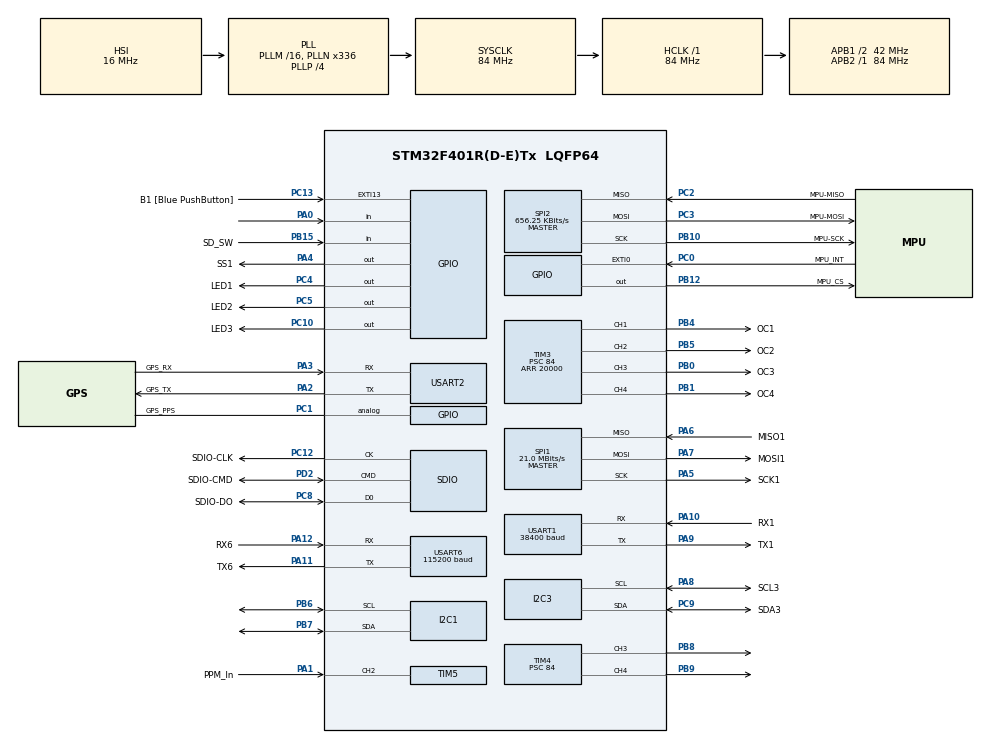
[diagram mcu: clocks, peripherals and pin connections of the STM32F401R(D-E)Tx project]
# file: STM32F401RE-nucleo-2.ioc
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Dma.Request0=SPI2_RX
Dma.Request1=SPI2_TX
Dma.SPI2_RX.0.Channel=DMA_CHANNEL_0
Dma.SPI2_RX.0.Direction=DMA_PERIPH_TO_MEMORY
Dma.SPI2_RX.0.FIFOMode=DMA_FIFOMODE_DISABLE
Dma.SPI2_RX.0.FIFOThreshold=DMA_FIFO_THRESHOLD_FULL
Dma.SPI2_RX.0.Instance=DMA1_Stream3
Dma.SPI2_RX.0.MemBurst=DMA_MBURST_SINGLE
Dma.SPI2_RX.0.MemDataAlignment=DMA_MDATAALIGN_BYTE
Dma.SPI2_RX.0.MemInc=DMA_MINC_ENABLE
Dma.SPI2_RX.0.Mode=DMA_NORMAL
Dma.SPI2_RX.0.PeriphBurst=DMA_PBURST_SINGLE
Dma.SPI2_RX.0.PeriphDataAlignment=DMA_PDATAALIGN_BYTE
Dma.SPI2_RX.0.PeriphInc=DMA_PINC_DISABLE
Dma.SPI2_RX.0.Priority=DMA_PRIORITY_LOW
Dma.SPI2_TX.1.Channel=DMA_CHANNEL_0
Dma.SPI2_TX.1.Direction=DMA_MEMORY_TO_PERIPH
Dma.SPI2_TX.1.FIFOMode=DMA_FIFOMODE_DISABLE
Dma.SPI2_TX.1.FIFOThreshold=DMA_FIFO_THRESHOLD_FULL
Dma.SPI2_TX.1.Instance=DMA1_Stream4
Dma.SPI2_TX.1.MemBurst=DMA_MBURST_SINGLE
Dma.SPI2_TX.1.MemDataAlignment=DMA_MDATAALIGN_BYTE
Dma.SPI2_TX.1.MemInc=DMA_MINC_DISABLE
Dma.SPI2_TX.1.Mode=DMA_NORMAL
Dma.SPI2_TX.1.PeriphBurst=DMA_PBURST_SINGLE
Dma.SPI2_TX.1.PeriphDataAlignment=DMA_PDATAALIGN_BYTE
Dma.SPI2_TX.1.PeriphInc=DMA_PINC_DISABLE
Dma.SPI2_TX.1.Priority=DMA_PRIORITY_LOW
FATFS.BSP.number=1
FATFS0.BSP.i2caddr=0
FATFS0.BSP.i2creg=0
FATFS0.BSP.instance=PB15
FATFS0.BSP.ip=GPIO
FATFS0.BSP.mode=Input
FATFS0.BSP.name=Detect_SDIO
FREERTOS.BinarySemaphores01=osSemaphoreIMU;osSemaphoreGPS
FREERTOS.Tasks01=defaultTask,0,1024,StartDefaultTask;TaskGPS,1,1024,StartTaskGPS;TaskIMU,2,1024,StartTaskIMU
FREERTOS.configCHECK_FOR_STACK_OVERFLOW=1
FREERTOS.configMINIMAL_STACK_SIZE=1024
FREERTOS.configTOTAL_HEAP_SIZE=32768
FREERTOS.configUSE_IDLE_HOOK=1
FREERTOS.configUSE_MALLOC_FAILED_HOOK=1
Mcu.Family=STM32F4
Mcu.Name=STM32F401R(D-E)Tx
Mcu.Package=LQFP64
NVIC.DMA1_Stream3_IRQn=true\:5\:0\:false
NVIC.DMA1_Stream4_IRQn=true\:5\:0\:false
NVIC.EXTI0_IRQn=true\:5\:0\:false
NVIC.EXTI15_10_IRQn=true\:5\:0\:false
NVIC.I2C1_ER_IRQn=true\:5\:0\:false
NVIC.I2C1_EV_IRQn=true\:5\:0\:false
NVIC.PriorityGroup=NVIC_PRIORITYGROUP_4
NVIC.SPI2_IRQn=true\:5\:0\:false
NVIC.TIM1_UP_TIM10_IRQn=true\:6\:0\:true
NVIC.TIM5_IRQn=true\:5\:0\:true
NVIC.USART1_IRQn=true\:5\:0\:false
NVIC.USART2_IRQn=true\:5\:0\:false
NVIC.USART6_IRQn=true\:5\:0\:false
PA0-WKUP.Signal=GPIO_Input
PA1.GPIO_Label=PPM_In
PA1.GPIO_ModeDefaultPP=GPIO_MODE_AF_PP
PA1.GPIO_PuPd=GPIO_NOPULL
PA1.GPIO_Speed=GPIO_SPEED_LOW
PA1.Signal=S_TIM5_CH2
PA10.GPIO_Label=RX1
PA10.GPIO_Mode=GPIO_MODE_AF_PP
PA10.GPIO_PuPd=GPIO_PULLUP
PA10.GPIO_Speed=GPIO_SPEED_LOW
PA10.Mode=Asynchronous
PA10.Signal=USART1_RX
PA11.GPIO_Label=TX6
PA11.GPIO_Mode=GPIO_MODE_AF_PP
PA11.GPIO_PuPd=GPIO_PULLUP
PA11.GPIO_Speed=GPIO_SPEED_LOW
PA11.Mode=Asynchronous
PA11.Signal=USART6_TX
PA12.GPIO_Label=RX6
PA12.GPIO_Mode=GPIO_MODE_AF_PP
PA12.GPIO_PuPd=GPIO_PULLUP
PA12.GPIO_Speed=GPIO_SPEED_LOW
PA12.Mode=Asynchronous
PA12.Signal=USART6_RX
PA13.GPIO_Label=SWIO
PA13.Mode=Trace-Asynchronous_SW
PA13.Signal=SYS_JTMS-SWDIO
PA14.GPIO_Label=SWCLK
PA14.Mode=Trace-Asynchronous_SW
PA14.Signal=SYS_JTCK-SWCLK
PA2.GPIO_Label=GPS_TX
PA2.GPIO_Mode=GPIO_MODE_AF_PP
PA2.GPIO_PuPd=GPIO_NOPULL
PA2.GPIO_Speed=GPIO_SPEED_LOW
PA2.Mode=Asynchronous
PA2.Signal=USART2_TX
PA3.GPIO_Label=GPS_RX
PA3.GPIO_Mode=GPIO_MODE_AF_PP
PA3.GPIO_PuPd=GPIO_NOPULL
PA3.GPIO_Speed=GPIO_SPEED_LOW
PA3.Mode=Asynchronous
PA3.Signal=USART2_RX
PA4.GPIO_Label=SS1
PA4.GPIO_ModeDefaultOutputPP=GPIO_MODE_OUTPUT_PP
PA4.GPIO_PuPd=GPIO_NOPULL
PA4.GPIO_Speed=GPIO_SPEED_LOW
PA4.Signal=GPIO_Output
PA5.GPIO_Label=SCK1
PA5.GPIO_Mode=GPIO_MODE_AF_PP
PA5.GPIO_PuPd=GPIO_NOPULL
PA5.GPIO_Speed=GPIO_SPEED_HIGH
PA5.Mode=Full_Duplex_Master
PA5.Signal=SPI1_SCK
PA6.GPIO_Label=MISO1
PA6.GPIO_Mode=GPIO_MODE_AF_PP
PA6.GPIO_PuPd=GPIO_NOPULL
PA6.GPIO_Speed=GPIO_SPEED_HIGH
PA6.Mode=Full_Duplex_Master
PA6.Signal=SPI1_MISO
PA7.GPIO_Label=MOSI1
PA7.GPIO_Mode=GPIO_MODE_AF_PP
PA7.GPIO_PuPd=GPIO_NOPULL
PA7.GPIO_Speed=GPIO_SPEED_HIGH
PA7.Mode=Full_Duplex_Master
PA7.Signal=SPI1_MOSI
PA8.GPIO_Label=SCL3
PA8.GPIO_Mode=GPIO_MODE_AF_OD
PA8.GPIO_PuPdOD=GPIO_PULLUP
PA8.GPIO_Speed=GPIO_SPEED_LOW
PA8.Mode=I2C
PA8.Signal=I2C3_SCL
PA9.GPIO_Label=TX1
PA9.GPIO_Mode=GPIO_MODE_AF_PP
PA9.GPIO_PuPd=GPIO_PULLUP
PA9.GPIO_Speed=GPIO_SPEED_LOW
PA9.Mode=Asynchronous
PA9.Signal=USART1_TX
PB0.GPIO_Label=OC3
PB0.GPIO_ModeDefaultPP=GPIO_MODE_AF_PP
PB0.GPIO_PuPd=GPIO_NOPULL
PB0.GPIO_Speed=GPIO_SPEED_LOW
PB0.Signal=S_TIM3_CH3
PB1.GPIO_Label=OC4
PB1.GPIO_ModeDefaultPP=GPIO_MODE_AF_PP
PB1.GPIO_PuPd=GPIO_NOPULL
PB1.GPIO_Speed=GPIO_SPEED_LOW
PB1.Signal=S_TIM3_CH4
PB10.GPIO_Label=MPU-SCK
PB10.GPIO_Mode=GPIO_MODE_AF_PP
PB10.GPIO_PuPd=GPIO_NOPULL
PB10.GPIO_Speed=GPIO_SPEED_LOW
PB10.Mode=Full_Duplex_Master
PB10.Signal=SPI2_SCK
PB12.GPIO_Label=MPU_CS
PB12.GPIO_ModeDefaultOutputPP=GPIO_MODE_OUTPUT_PP
PB12.GPIO_PuPd=GPIO_NOPULL
PB12.GPIO_Speed=GPIO_SPEED_LOW
PB12.Signal=GPIO_Output
PB15.GPIO_Label=SD_SW
PB15.GPIO_Mode=GPIO_MODE_INPUT
PB15.GPIO_PuPd=GPIO_NOPULL
PB15.Signal=GPIO_Input
PB3.GPIO_Label=SWO
PB3.Mode=Trace-Asynchronous_SW
PB3.Signal=SYS_JTDO-SWO
PB4.GPIO_Label=OC1
PB4.GPIO_ModeDefaultPP=GPIO_MODE_AF_PP
PB4.GPIO_PuPd=GPIO_NOPULL
PB4.GPIO_Speed=GPIO_SPEED_LOW
PB4.Signal=S_TIM3_CH1
PB5.GPIO_Label=OC2
PB5.GPIO_ModeDefaultPP=GPIO_MODE_AF_PP
PB5.GPIO_PuPd=GPIO_NOPULL
PB5.GPIO_Speed=GPIO_SPEED_LOW
PB5.Signal=S_TIM3_CH2
PB6.GPIO_Mode=GPIO_MODE_AF_OD
PB6.GPIO_PuPdOD=GPIO_PULLUP
PB6.GPIO_Speed=GPIO_SPEED_LOW
PB6.Mode=I2C
PB6.Signal=I2C1_SCL
PB7.GPIO_Mode=GPIO_MODE_AF_OD
PB7.GPIO_PuPdOD=GPIO_PULLUP
PB7.GPIO_Speed=GPIO_SPEED_LOW
PB7.Mode=I2C
PB7.Signal=I2C1_SDA
PB8.Signal=S_TIM4_CH3
PB9.Signal=S_TIM4_CH4
PC0.GPIO_Label=MPU_INT
PC0.GPIO_ModeDefaultEXTI=GPIO_MODE_IT_FALLING
PC0.GPIO_PuPd=GPIO_PULLUP
PC0.Signal=GPXTI0
PC1.GPIO_Label=GPS_PPS
PC1.GPIO_Mode=GPIO_MODE_ANALOG
PC1.GPIO_PuPd=GPIO_NOPULL
PC1.Signal=GPIO_Analog
PC10.GPIO_Label=LED3
PC10.GPIO_ModeDefaultOutputPP=GPIO_MODE_OUTPUT_PP
PC10.GPIO_PuPd=GPIO_NOPULL
PC10.GPIO_Speed=GPIO_SPEED_LOW
PC10.Signal=GPIO_Output
PC12.GPIO_Label=SDIO-CLK
PC12.GPIO_Mode=GPIO_MODE_AF_PP
PC12.GPIO_PuPd=GPIO_NOPULL
PC12.GPIO_Speed_High_Default=GPIO_SPEED_HIGH
PC12.Mode=SD_1_bit
PC12.Signal=SDIO_CK
PC13-ANTI_TAMP.GPIO_Label=B1 [Blue PushButton]
PC13-ANTI_TAMP.GPIO_ModeDefaultEXTI=GPIO_MODE_IT_FALLING
PC13-ANTI_TAMP.GPIO_PuPd=GPIO_NOPULL
PC13-ANTI_TAMP.Signal=GPXTI13
PC14-OSC32_IN.Mode=LSE-External-Oscillator
PC14-OSC32_IN.Signal=RCC_OSC32_IN
PC15-OSC32_OUT.Mode=LSE-External-Oscillator
PC15-OSC32_OUT.Signal=RCC_OSC32_OUT
PC2.GPIO_Label=MPU-MISO
PC2.GPIO_Mode=GPIO_MODE_AF_PP
PC2.GPIO_PuPd=GPIO_NOPULL
PC2.GPIO_Speed=GPIO_SPEED_LOW
PC2.Mode=Full_Duplex_Master
PC2.Signal=SPI2_MISO
PC3.GPIO_Label=MPU-MOSI
PC3.GPIO_Mode=GPIO_MODE_AF_PP
PC3.GPIO_PuPd=GPIO_NOPULL
PC3.GPIO_Speed=GPIO_SPEED_LOW
PC3.Mode=Full_Duplex_Master
PC3.Signal=SPI2_MOSI
PC4.GPIO_Label=LED1
PC4.GPIO_ModeDefaultOutputPP=GPIO_MODE_OUTPUT_PP
PC4.GPIO_PuPd=GPIO_NOPULL
PC4.GPIO_Speed=GPIO_SPEED_LOW
PC4.Signal=GPIO_Output
PC5.GPIO_Label=LED2
PC5.GPIO_ModeDefaultOutputPP=GPIO_MODE_OUTPUT_PP
PC5.GPIO_PuPd=GPIO_NOPULL
PC5.GPIO_Speed=GPIO_SPEED_LOW
PC5.Signal=GPIO_Output
PC8.GPIO_Label=SDIO-DO
PC8.GPIO_Mode=GPIO_MODE_AF_PP
PC8.GPIO_PuPd=GPIO_NOPULL
PC8.GPIO_Speed_High_Default=GPIO_SPEED_HIGH
PC8.Mode=SD_1_bit
PC8.Signal=SDIO_D0
PC9.GPIO_Label=SDA3
PC9.GPIO_Mode=GPIO_MODE_AF_OD
PC9.GPIO_PuPdOD=GPIO_PULLUP
PC9.GPIO_Speed=GPIO_SPEED_LOW
PC9.Mode=I2C
PC9.Signal=I2C3_SDA
PD2.GPIO_Label=SDIO-CMD
PD2.GPIO_Mode=GPIO_MODE_AF_PP
PD2.GPIO_PuPd=GPIO_NOPULL
PD2.GPIO_Speed_High_Default=GPIO_SPEED_HIGH
PD2.Mode=SD_1_bit
PD2.Signal=SDIO_CMD
PH0\ -\ OSC_IN.Signal=RCC_OSC_IN
PH1\ -\ OSC_OUT.Signal=RCC_OSC_OUT
ProjectManager.TargetToolchain=TrueSTUDIO
RCC.48MHZClocksFreq_Value=48000000
RCC.AHBFreq_Value=84000000
RCC.APB1CLKDivider=RCC_HCLK_DIV2
RCC.APB1Freq_Value=42000000
RCC.APB1TimFreq_Value=84000000
RCC.APB2Freq_Value=84000000
RCC.APB2TimFreq_Value=84000000
RCC.CortexFreq_Value=10500000
RCC.Cortex_Div=SYSTICK_CLKSOURCE_HCLK_DIV8
RCC.HCLKFreq_Value=84000000
RCC.HSE_VALUE=8000000
RCC.HSI_VALUE=16000000
RCC.PLLN=336
RCC.PLLP=RCC_PLLP_DIV4
RCC.PLLQ=7
RCC.SYSCLKFreq_VALUE=84000000
RCC.SYSCLKSource=RCC_SYSCLKSOURCE_PLLCLK
RCC.VCOOutputFreq_Value=336000000
SDIO.BusWide=SDIO_BUS_WIDE_1B
SDIO.BusWide-SD_1_bit=SDIO_BUS_WIDE_1B
SDIO.ClockDiv=4
SH.S_TIM3_CH1.0=TIM3_CH1,PWM Generation1 CH1
SH.S_TIM3_CH2.0=TIM3_CH2,PWM Generation2 CH2
SH.S_TIM3_CH3.0=TIM3_CH3,PWM Generation3 CH3
SH.S_TIM3_CH4.0=TIM3_CH4,PWM Generation4 CH4
SH.S_TIM4_CH3.0=TIM4_CH3,PWM Generation3 CH3
SH.S_TIM4_CH4.0=TIM4_CH4,PWM Generation4 CH4
SH.S_TIM5_CH2.0=TIM5_CH2,Input_Capture2_from_TI2
SPI1.BaudRatePrescaler=SPI_BAUDRATEPRESCALER_4
SPI1.CalculateBaudRate=21.0 MBits/s
SPI1.Mode=SPI_MODE_MASTER
SPI2.BaudRatePrescaler=SPI_BAUDRATEPRESCALER_64
SPI2.CalculateBaudRate=656.25 KBits/s
SPI2.DataSize=SPI_DATASIZE_8BIT
SPI2.Mode=SPI_MODE_MASTER
TIM10.Prescaler=20000
TIM3.Channel-PWM\ Generation2\ CH2=TIM_CHANNEL_2
TIM3.Channel-PWM\ Generation3\ CH3=TIM_CHANNEL_3
TIM3.Channel-PWM\ Generation4\ CH4=TIM_CHANNEL_4
TIM3.Period=20000
TIM3.Prescaler=84
TIM3.Pulse-PWM\ Generation1\ CH1=1500
TIM3.Pulse-PWM\ Generation2\ CH2=1500
TIM3.Pulse-PWM\ Generation3\ CH3=1500
TIM3.Pulse-PWM\ Generation4\ CH4=1500
TIM4.Channel-PWM\ Generation3\ CH3=TIM_CHANNEL_3
TIM4.Channel-PWM\ Generation4\ CH4=TIM_CHANNEL_4
TIM4.Period=20000
TIM4.Prescaler=84
TIM4.Pulse-PWM\ Generation3\ CH3=1500
TIM4.Pulse-PWM\ Generation4\ CH4=1500
TIM5.Channel-Input_Capture2_from_TI2=TIM_CHANNEL_2
TIM5.Period=0xFFFF
USART1.BaudRate=38400
USART6.BaudRate=115200
VP_FATFS_VS_SDIO.Mode=SDIO
VP_FREERTOS_VS_ENABLE.Mode=Enabled
VP_TIM10_VS_ClockSourceINT.Mode=Enable_Timer
VP_TIM3_VS_ClockSourceINT.Mode=Internal
VP_TIM4_VS_ClockSourceINT.Mode=Internal
VP_TIM5_VS_ClockSourceINT.Mode=Internal
board=STM32F401RE-nucleo-2

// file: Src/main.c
/**
  ******************************************************************************
  * File Name          : main.c
  * Description        : Main program body
  ******************************************************************************
  *
  * COPYRIGHT(c) 2015 STMicroelectronics
  *
  * Redistribution and use in source and binary forms, with or without modification,
  * are permitted provided that the following conditions are met:
  *   1. Redistributions of source code must retain the above copyright notice,
  *      this list of conditions and the following disclaimer.
  *   2. Redistributions in binary form must reproduce the above copyright notice,
  *      this list of conditions and the following disclaimer in the documentation
  *      and/or other materials provided with the distribution.
  *   3. Neither the name of STMicroelectronics nor the names of its contributors
  *      may be used to endorse or promote products derived from this software
  *      without specific prior written permission.
  *
  * THIS SOFTWARE IS PROVIDED BY THE COPYRIGHT HOLDERS AND CONTRIBUTORS "AS IS"
  * AND ANY EXPRESS OR IMPLIED WARRANTIES, INCLUDING, BUT NOT LIMITED TO, THE
  * IMPLIED WARRANTIES OF MERCHANTABILITY AND FITNESS FOR A PARTICULAR PURPOSE ARE
  * DISCLAIMED. IN NO EVENT SHALL THE COPYRIGHT HOLDER OR CONTRIBUTORS BE LIABLE
  * FOR ANY DIRECT, INDIRECT, INCIDENTAL, SPECIAL, EXEMPLARY, OR CONSEQUENTIAL
  * DAMAGES (INCLUDING, BUT NOT LIMITED TO, PROCUREMENT OF SUBSTITUTE GOODS OR
  * SERVICES; LOSS OF USE, DATA, OR PROFITS; OR BUSINESS INTERRUPTION) HOWEVER
  * CAUSED AND ON ANY THEORY OF LIABILITY, WHETHER IN CONTRACT, STRICT LIABILITY,
  * OR TORT (INCLUDING NEGLIGENCE OR OTHERWISE) ARISING IN ANY WAY OUT OF THE USE
  * OF THIS SOFTWARE, EVEN IF ADVISED OF THE POSSIBILITY OF SUCH DAMAGE.
  *
  ******************************************************************************
  */
#include "stm32f4xx_hal.h"
#include "cmsis_os.h"
#include "dma.h"
#include "fatfs.h"
#include "i2c.h"
#include "sdio.h"
#include "spi.h"
#include "tim.h"
#include "usart.h"
#include "gpio.h"

/* USER CODE BEGIN Includes */
//#include "radioIn.h"
#include "libUDB.h"
#include "radioIn.h"
#include "serialIO.h"
#include "servoOut.h"
#include "mpu6000.h"
#include "heartbeat.h"
#include <stdio.h>
/* USER CODE END Includes */

/* USER CODE BEGIN PV */
/*
#define LED1	GPIO_PIN_4
#define LED2	GPIO_PIN_5
#define LED3	GPIO_PIN_10
#define LED4	GPIO_PIN_2

#define LED1_Port	GPIOC
#define LED2_Port	GPIOC
#define LED3_Port	GPIOC
#define LED4_Port	GPIOB
 */
/* USER CODE END PV */

void SystemClock_Config(void);
void MX_FREERTOS_Init(void);

/* USER CODE BEGIN PFP */
extern int tsirq;

/* USER CODE END PFP */

/* USER CODE BEGIN 0 */
#define main mcu_init
/* USER CODE END 0 */

int main(void) // this becomes: int mcu_init(void)
{

  /* MCU Configuration----------------------------------------------------------*/

  /* Reset of all peripherals, Initializes the Flash interface and the Systick. */
  HAL_Init();

  /* Configure the system clock */
  SystemClock_Config();

  /* Initialize all configured peripherals */
  MX_GPIO_Init();
  MX_DMA_Init();
  MX_I2C1_Init();
  MX_I2C3_Init();
  MX_SDIO_SD_Init();
  MX_SPI1_Init();
  MX_SPI2_Init();
  MX_TIM3_Init();
  MX_TIM4_Init();
  MX_TIM5_Init();
  MX_TIM10_Init();
  MX_USART1_UART_Init();
  MX_USART2_UART_Init();
  MX_USART6_UART_Init();

  /* USER CODE BEGIN 2 */
	led_off(LED_RED);
	led_off(LED_BLUE);
	led_off(LED_GREEN);
	led_off(LED_ORANGE);
//	led_on(LED_RED);

	radioIn_init();     //Robert, you have to find a better place for this functions, right?
	servoOut_init();
	start_pwm_outputs();
	MPU6000_init16(&heartbeat); // initialise mpu in STM32 builds

  /* USER CODE END 2 */

  /* Call init function for freertos objects (in freertos.c) */
  MX_FREERTOS_Init();

  /* Start scheduler */
  osKernelStart();

  /* We should never get here as control is now taken by the scheduler */

  /* Infinite loop */
  while (1)
  {

  }

}

/** System Clock Configuration
*/
void SystemClock_Config(void)
{

  RCC_OscInitTypeDef RCC_OscInitStruct;
  RCC_ClkInitTypeDef RCC_ClkInitStruct;

  __PWR_CLK_ENABLE();

  __HAL_PWR_VOLTAGESCALING_CONFIG(PWR_REGULATOR_VOLTAGE_SCALE1);

  RCC_OscInitStruct.OscillatorType = RCC_OSCILLATORTYPE_HSI;
  RCC_OscInitStruct.HSIState = RCC_HSI_ON;
  RCC_OscInitStruct.HSICalibrationValue = 16;
  RCC_OscInitStruct.PLL.PLLState = RCC_PLL_ON;
  RCC_OscInitStruct.PLL.PLLSource = RCC_PLLSOURCE_HSI;
  RCC_OscInitStruct.PLL.PLLM = 16;
  RCC_OscInitStruct.PLL.PLLN = 336;
  RCC_OscInitStruct.PLL.PLLP = RCC_PLLP_DIV4;
  RCC_OscInitStruct.PLL.PLLQ = 7;
  HAL_RCC_OscConfig(&RCC_OscInitStruct);

  RCC_ClkInitStruct.ClockType = RCC_CLOCKTYPE_SYSCLK|RCC_CLOCKTYPE_PCLK1;
  RCC_ClkInitStruct.SYSCLKSource = RCC_SYSCLKSOURCE_PLLCLK;
  RCC_ClkInitStruct.AHBCLKDivider = RCC_SYSCLK_DIV1;
  RCC_ClkInitStruct.APB1CLKDivider = RCC_HCLK_DIV2;
  RCC_ClkInitStruct.APB2CLKDivider = RCC_HCLK_DIV1;
  HAL_RCC_ClockConfig(&RCC_ClkInitStruct, FLASH_LATENCY_2);

  HAL_SYSTICK_Config(HAL_RCC_GetHCLKFreq()/8000);

  HAL_SYSTICK_CLKSourceConfig(SYSTICK_CLKSOURCE_HCLK_DIV8);

}

#ifdef USE_FULL_ASSERT

/**
   * @brief Reports the name of the source file and the source line number
   * where the assert_param error has occurred.
   * @param file: pointer to the source file name
   * @param line: assert_param error line source number
   * @retval None
   */
void assert_failed(uint8_t* file, uint32_t line)
{
  /* USER CODE BEGIN 6 */
  /* User can add his own implementation to report the file name and line number,
    ex: printf("Wrong parameters value: file %s on line %d\r\n", file, line) */
	printf("assert_failed %s %d\r\n", file, (int)line);
  /* USER CODE END 6 */

}

#endif

/************************ (C) COPYRIGHT STMicroelectronics *****END OF FILE****/

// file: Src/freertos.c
/**
  ******************************************************************************
  * File Name          : freertos.c
  * Description        : Code for freertos applications
  ******************************************************************************
  *
  * COPYRIGHT(c) 2015 STMicroelectronics
  *
  * Redistribution and use in source and binary forms, with or without modification,
  * are permitted provided that the following conditions are met:
  *   1. Redistributions of source code must retain the above copyright notice,
  *      this list of conditions and the following disclaimer.
  *   2. Redistributions in binary form must reproduce the above copyright notice,
  *      this list of conditions and the following disclaimer in the documentation
  *      and/or other materials provided with the distribution.
  *   3. Neither the name of STMicroelectronics nor the names of its contributors
  *      may be used to endorse or promote products derived from this software
  *      without specific prior written permission.
  *
  * THIS SOFTWARE IS PROVIDED BY THE COPYRIGHT HOLDERS AND CONTRIBUTORS "AS IS"
  * AND ANY EXPRESS OR IMPLIED WARRANTIES, INCLUDING, BUT NOT LIMITED TO, THE
  * IMPLIED WARRANTIES OF MERCHANTABILITY AND FITNESS FOR A PARTICULAR PURPOSE ARE
  * DISCLAIMED. IN NO EVENT SHALL THE COPYRIGHT HOLDER OR CONTRIBUTORS BE LIABLE
  * FOR ANY DIRECT, INDIRECT, INCIDENTAL, SPECIAL, EXEMPLARY, OR CONSEQUENTIAL
  * DAMAGES (INCLUDING, BUT NOT LIMITED TO, PROCUREMENT OF SUBSTITUTE GOODS OR
  * SERVICES; LOSS OF USE, DATA, OR PROFITS; OR BUSINESS INTERRUPTION) HOWEVER
  * CAUSED AND ON ANY THEORY OF LIABILITY, WHETHER IN CONTRACT, STRICT LIABILITY,
  * OR TORT (INCLUDING NEGLIGENCE OR OTHERWISE) ARISING IN ANY WAY OUT OF THE USE
  * OF THIS SOFTWARE, EVEN IF ADVISED OF THE POSSIBILITY OF SUCH DAMAGE.
  *
  ******************************************************************************
  */

#include "FreeRTOS.h"
#include "task.h"
#include "cmsis_os.h"

/* USER CODE BEGIN Includes */
#include "libUDB.h"
#include "heartbeat.h"
#include <stdio.h>
/* USER CODE END Includes */

osThreadId defaultTaskHandle;
osThreadId TaskGPSHandle;
osThreadId TaskIMUHandle;
osSemaphoreId osSemaphoreIMUHandle;
osSemaphoreId osSemaphoreGPSHandle;

void StartDefaultTask(void const * argument);
void StartTaskGPS(void const * argument);
void StartTaskIMU(void const * argument);

extern void MX_FATFS_Init(void);
void MX_FREERTOS_Init(void); /* (MISRA C 2004 rule 8.1) */

/* USER CODE BEGIN FunctionPrototypes */
int matrixpilot_loop(void);

/* USER CODE END FunctionPrototypes */

/* Hook prototypes */
void vApplicationIdleHook(void);
void vApplicationStackOverflowHook(xTaskHandle xTask, signed char *pcTaskName);
void vApplicationMallocFailedHook(void);

/* USER CODE BEGIN 2 */

void vApplicationIdleHook( void )
{
   /* vApplicationIdleHook() will only be called if configUSE_IDLE_HOOK is set
   to 1 in FreeRTOSConfig.h. It will be called on each iteration of the idle
   task. It is essential that code added to this hook function never attempts
   to block in any way (for example, call xQueueReceive() with a block time
   specified, or call vTaskDelay()). If the application makes use of the
   vTaskDelete() API function (as this demo application does) then it is also
   important that vApplicationIdleHook() is permitted to return to its calling
   function, because it is the responsibility of the idle task to clean up
   memory allocated by the kernel to any task that has since been deleted. */

//	matrixpilot_loop();
}

/* USER CODE END 2 */

/* USER CODE BEGIN 4 */
void vApplicationStackOverflowHook(xTaskHandle xTask, signed char *pcTaskName)
{
   /* Run time stack overflow checking is performed if
   configCHECK_FOR_STACK_OVERFLOW is defined to 1 or 2. This hook function is
   called if a stack overflow is detected. */
}
/* USER CODE END 4 */

/* USER CODE BEGIN 5 */
void vApplicationMallocFailedHook(void)
{
   /* vApplicationMallocFailedHook() will only be called if
   configUSE_MALLOC_FAILED_HOOK is set to 1 in FreeRTOSConfig.h. It is a hook
   function that will get called if a call to pvPortMalloc() fails.
   pvPortMalloc() is called internally by the kernel whenever a task, queue,
   timer or semaphore is created. It is also called by various parts of the
   demo application. If heap_1.c or heap_2.c are used, then the size of the
   heap available to pvPortMalloc() is defined by configTOTAL_HEAP_SIZE in
   FreeRTOSConfig.h, and the xPortGetFreeHeapSize() API function can be used
   to query the size of free heap space that remains (although it does not
   provide information on how the remaining heap might be fragmented). */
	printf("vApplicationMallocFailedHook()\r\n");
//	taskDISABLE_INTERRUPTS();
	for( ;; );
}
/* USER CODE END 5 */

/* Init FreeRTOS */

void MX_FREERTOS_Init(void) {

  /* Create the semaphores(s) */
  /* definition and creation of osSemaphoreIMU */
  osSemaphoreDef(osSemaphoreIMU);
  osSemaphoreIMUHandle = osSemaphoreCreate(osSemaphore(osSemaphoreIMU), 1);

  /* definition and creation of osSemaphoreGPS */
  osSemaphoreDef(osSemaphoreGPS);
  osSemaphoreGPSHandle = osSemaphoreCreate(osSemaphore(osSemaphoreGPS), 1);

  /* Create the thread(s) */
  /* definition and creation of defaultTask */
  osThreadDef(defaultTask, StartDefaultTask, osPriorityNormal, 0, 1024);
  defaultTaskHandle = osThreadCreate(osThread(defaultTask), NULL);

  /* definition and creation of TaskGPS */
  osThreadDef(TaskGPS, StartTaskGPS, osPriorityAboveNormal, 0, 1024);
  TaskGPSHandle = osThreadCreate(osThread(TaskGPS), NULL);

  /* definition and creation of TaskIMU */
  osThreadDef(TaskIMU, StartTaskIMU, osPriorityHigh, 0, 1024);
  TaskIMUHandle = osThreadCreate(osThread(TaskIMU), NULL);

}

/* StartDefaultTask function */
void StartDefaultTask(void const * argument)
{
  /* init code for FATFS */
  MX_FATFS_Init();

  /* USER CODE BEGIN StartDefaultTask */
//	DPRINT("StartDefaultTask: %p\r\n", argument);
void _StartDefaultTask(void const * argument);
	_StartDefaultTask(argument);
  /* USER CODE END StartDefaultTask */
}

/* USER CODE BEGIN 6 */
void RunTaskGPS(void);
void RunTaskIMU(void);

/* USER CODE END 6 */

/* StartTaskGPS function */
void StartTaskGPS(void const * argument)
{
  /* USER CODE BEGIN StartTaskGPS */
	(void)argument;
//	DPRINT("StartTaskGPS\r\n");
	for(;;)
	{
		osSemaphoreWait(osSemaphoreGPSHandle, osWaitForever);
		RunTaskGPS();
//		udb_led_toggle(LED_RED);
	}
  /* USER CODE END StartTaskGPS */
}

/* StartTaskIMU function */
void StartTaskIMU(void const * argument)
{
  /* USER CODE BEGIN StartTaskIMU */
	led_on(LED_ORANGE);
//	DPRINT("StartTaskIMU\r\n");
	for(;;)
	{
		static int i = 0;

//		osSemaphoreWait(osSemaphoreIMUHandle, osWaitForever);
		if (osSemaphoreWait(osSemaphoreIMUHandle, 500) == osOK)
		{
//			pulse(); // now called from RunTaskIMU below:
			RunTaskIMU();
		}
		else
		{
			// timeout
		}
		if (i++ > 100)
		{
			i = 0;
			udb_led_toggle(LED_ORANGE);
//			DPRINT("#");
		}
//		udb_led_toggle(LED_BLUE);  // blue led not working?
	}
  /* USER CODE END StartTaskIMU */
}

/* USER CODE BEGIN Application */

void TriggerTaskGPS(void)
{
	if (osSemaphoreGPSHandle)
		osSemaphoreRelease(osSemaphoreGPSHandle);
}

void TriggerTaskIMU(void)
{
	if (osSemaphoreIMUHandle)
		osSemaphoreRelease(osSemaphoreIMUHandle);
}

/* USER CODE END Application */

/************************ (C) COPYRIGHT STMicroelectronics *****END OF FILE****/
